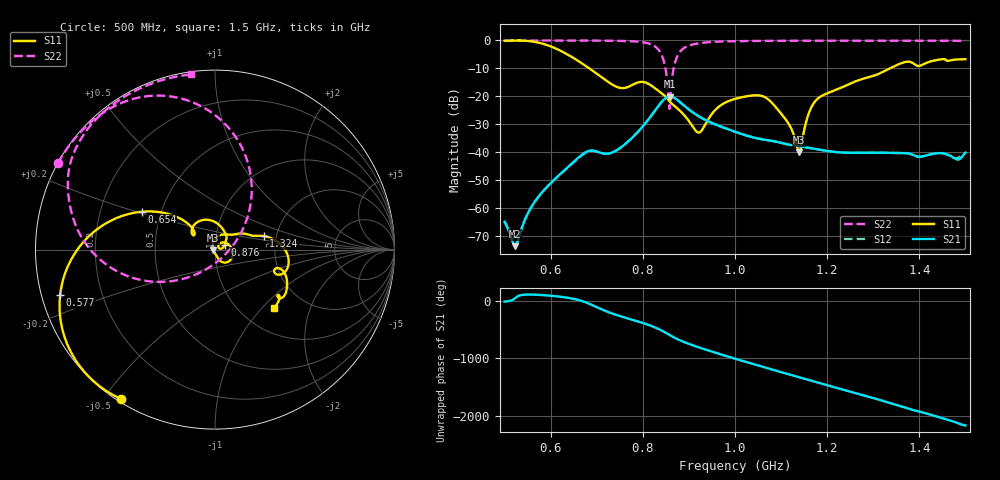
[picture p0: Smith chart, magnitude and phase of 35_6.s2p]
! TOUCHSTONE file generated by CST MICROWAVE STUDIO
! Date and time: Sat Oct 24 11:49:04 2020
! Project name: Scenario_1_Circular_Tissue_out_of_Line.cst
! Parameters = {dy1=243.594; L_HA=400; MT=2.54; Rad_Dielectric=30; Rad_Lower=7.3; Rad_Upper=30; a_HA=580; a_WG=246; b_HA=500; b_WG=121; c_HA=0; c_WG=187; d_feed=85; dx1=1039; h_feed=15; h_lower=18; h_upper=40}
! Header version: 2018
! Port assignment regex: !\s*Touchstone port\s*([0-9]+)\s*=\s*(CST MWS port|CST DS port)\s*([0-9]+|Zmin|Zmax)\s*\(\"(.*)\"\)(\s*mode\s*([0-9]+))?.*
! Touchstone port assignment:
! Touchstone port 1 = CST MWS port 1 ("")
! Touchstone port 2 = CST MWS port 2 ("")
# GHz S DB R 50
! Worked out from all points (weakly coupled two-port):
!   1001 points, 500 MHz to 1.5 GHz, reference 50 ohm
!   highest |S21| = -20.04 dB at 859 MHz (marker M1); lowest = -73.5 dB at 523 MHz (marker M2)
!   lowest |S11| = -40.0 dB at 1.139 GHz (marker M3), VSWR 1.02, Z = 49.1 - j0.414 ohm
!   |S11| at or under -10 dB: 684 MHz to 1.336 GHz (652 MHz wide, 64.6 % of centre)
!   |S22| runs from -24.5 to 0.0 dB; largest |S21 - S12| = 0.00095
!   S11 on the Smith chart (normalised r, x): 500 MHz: 0.01, -0.55; 577 MHz: 0.05, -0.14; 654 MHz: 0.39, +0.21; 876 MHz: 1.11, +0.06; 1.324 GHz: 1.72, +0.28; 1.5 GHz: 1.42, -1.17
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0.5  -0.14 -122.3  -64.72 -10.6  -64.73 -10.7  -0.01 151.1
0.523  -0.02 -132.4  -73.49 49.9  -73.21 51.0  -0.01 149.6
0.577  -0.92 -163.7  -55.10 104.9  -55.09 104.5  -0.02 145.8
0.654  -6.74 152.7  -42.76 29.0  -42.97 30.5  -0.04 139.6
0.667  -8.11 147.5  -40.93 0.8  -41.16 3.1  -0.04 138.4
0.746  -16.76 141.3  -38.94 107.0  -38.95 107.1  -0.15 128.2
0.798  -14.81 121.9  -31.06 -18.5  -31.07 -18.4  -0.60 113.5
0.834  -18.03 71.4  -23.37 -129.1  -23.36 -129.1  -3.34 83.4
0.848  -19.79 53.3  -20.78 173.1  -20.77 173.1  -9.12 54.7
0.855  -21.18 43.3  -20.13 141.1  -20.13 141.1  -18.62 18.9
0.859  -22.01 40.2  -20.04 122.6  -20.03 122.6  -22.47 -88.4
0.876  -24.43 25.6  -21.42 50.7  -21.42 50.6  -5.24 -166.4
0.922  -32.90 31.1  -27.15 -90.4  -27.18 -90.3  -1.01 157.1
0.961  -24.22 40.6  -30.24 168.9  -30.26 169.0  -0.45 146.5
1  -20.88 8.4  -32.61 72.8  -32.61 72.8  -0.27 140.2
1.072  -21.05 -54.5  -35.64 -94.9  -35.64 -94.9  -0.15 132.2
1.116  -29.67 -77.6  -37.19 162.9  -37.19 162.9  -0.11 128.3
1.139  -40.00 -155.0  -37.79 110.8  -37.79 110.9  -0.11 126.4
1.167  -23.47 84.6  -38.56 46.0  -38.57 46.0  -0.10 124.2
1.324  -10.99 15.5  -40.12 50.2  -40.12 50.2  -0.09 112.2
1.334  -10.17 12.7  -40.16 26.3  -40.16 26.3  -0.09 111.4
1.5  -6.71 -44.3  -40.06 -10.6  -40.07 -10.3  -0.13 97.9
